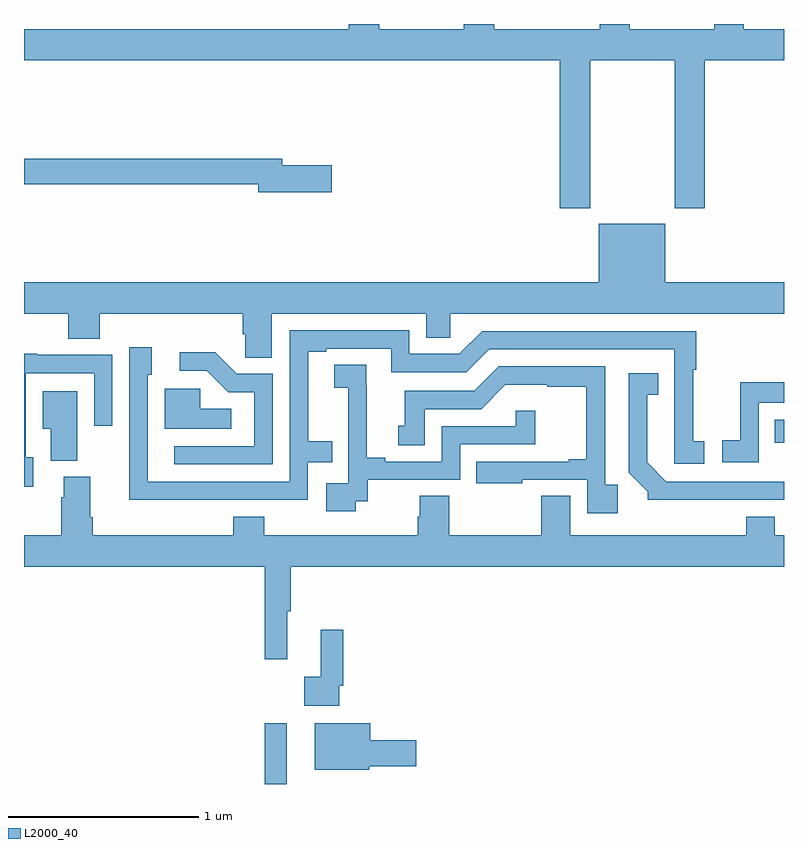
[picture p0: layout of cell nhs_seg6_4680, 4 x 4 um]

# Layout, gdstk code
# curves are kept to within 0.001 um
import gdstk
lib = gdstk.Library(unit=1e-6, precision=1e-09)
def R(c, l, rs):  # rectangles x0, y0, x1, y1
    for r in rs: c.add(gdstk.rectangle(r[:2], r[2:], *l))
def P(c, l, *ps):  # polygons
    for p in ps: c.add(gdstk.Polygon(p, *l))
L2000_40 = (2000, 40)

nhs_seg6_4680 = lib.new_cell('nhs_seg6_4680')
R(nhs_seg6_4680, L2000_40, [(388.267,971.5,388.384,971.821), (390.952,973.295,391,973.417)])
P(nhs_seg6_4680, L2000_40, [(389.979,975.308),(390.424,975.308),(390.424,974.529),(390.584,974.529),(390.584,975.308),(391,975.308),(391,975.472),(390.789,975.472),(390.789,975.5),(390.634,975.5),(390.634,975.472),(390.189,975.472),(390.189,975.5),(390.029,975.5),(390.029,975.472),(389.474,975.472),(389.474,975.5),(389.314,975.5),(389.314,975.472),(388.869,975.472),(388.869,975.5),(388.709,975.5),(388.709,975.472),(387,975.472),(387,975.308),(389.819,975.308),(389.819,974.529),(389.979,974.529)],
  [(388.621,974.756),(388.36,974.756),(388.36,974.792),(387,974.792),(387,974.656),(388.232,974.656),(388.232,974.614),(388.621,974.614)],
  [(388.303,973.976),(389.117,973.976),(389.117,973.849),(389.244,973.849),(389.244,973.976),(391,973.976),(391,974.14),(390.376,974.14),(390.376,974.449),(390.026,974.449),(390.026,974.14),(387,974.14),(387,973.976),(387.233,973.976),(387.233,973.843),(387.398,973.843),(387.398,973.976),(388.151,973.976),(388.151,973.867),(388.164,973.867),(388.164,973.744),(388.303,973.744)],
  [(388.016,972.996),(388.494,972.996),(388.494,973.194),(388.622,973.194),(388.622,973.303),(388.495,973.303),(388.495,973.776),(388.591,973.776),(388.591,973.791),(388.932,973.791),(388.932,973.668),(389.328,973.668),(389.448,973.788),(390.423,973.788),(390.422,973.185),(390.58,973.185),(390.58,973.305),(390.522,973.305),(390.522,973.681),(390.539,973.681),(390.539,973.884),(389.412,973.884),(389.292,973.764),(389.028,973.764),(389.028,973.887),(388.398,973.887),(388.398,973.092),(387.651,973.092),(387.651,973.653),(387.673,973.653),(387.673,973.798),(387.555,973.798),(387.554,972.995)],
  [(388.308,973.659),(388.119,973.659),(388.006,973.772),(387.819,973.772),(387.819,973.674),(387.963,973.674),(388.074,973.563),(388.212,973.563),(388.212,973.278),(387.792,973.278),(387.792,973.182),(388.308,973.182)],
  [(387.049,973.221),(387.009,973.221),(387.009,973.662),(387.369,973.662),(387.369,973.386),(387.465,973.386),(387.465,973.758),(387.069,973.758),(387.069,973.765),(387,973.765),(387,973.065),(387.049,973.065)],
  [(388.746,972.987),(388.808,972.987),(388.808,973.101),(389.295,973.101),(389.295,973.287),(389.69,973.287),(389.69,973.465),(389.589,973.465),(389.589,973.383),(389.199,973.383),(389.199,973.197),(388.9,973.197),(388.9,973.217),(388.804,973.217),(388.804,973.595),(388.802,973.595),(388.802,973.706),(388.632,973.706),(388.632,973.585),(388.706,973.585),(388.706,973.387),(388.707,973.387),(388.707,973.083),(388.59,973.083),(388.59,972.936),(388.746,972.936)],
  [(390.125,973.075),(390.06,973.075),(390.06,973.698),(389.499,973.698),(389.37,973.569),(389.003,973.569),(389.003,973.386),(388.97,973.386),(388.97,973.282),(389.11,973.282),(389.11,973.473),(389.406,973.473),(389.534,973.601),(389.753,973.601),(389.753,973.59),(389.959,973.59),(389.959,973.21),(389.867,973.21),(389.867,973.197),(389.38,973.197),(389.38,973.082),(389.623,973.082),(389.623,973.101),(389.964,973.101),(389.964,972.924),(390.125,972.924)],
  [(390.716,972.996),(391,972.996),(391,973.092),(390.381,973.092),(390.28,973.193),(390.28,973.55),(390.338,973.55),(390.338,973.663),(390.183,973.663),(390.183,973.138),(390.282,973.039),(390.282,972.995)],
  [(390.867,973.506),(391,973.506),(391,973.615),(390.769,973.615),(390.769,973.31),(390.675,973.31),(390.675,973.194),(390.867,973.194)],
  [(388.09,973.474),(387.927,973.474),(387.927,973.581),(387.74,973.581),(387.74,973.37),(388.09,973.37)],
  [(387.28,973.567),(387.098,973.567),(387.098,973.37),(387.14,973.37),(387.14,973.201),(387.28,973.201)],
  [(388.385,972.408),(388.403,972.408),(388.403,972.644),(391,972.644),(391,972.808),(390.952,972.808),(390.952,972.907),(390.8,972.907),(390.8,972.808),(389.875,972.808),(389.875,973.016),(389.723,973.016),(389.723,972.808),(389.237,972.808),(389.237,973.016),(389.084,973.016),(389.084,972.906),(389.072,972.906),(389.072,972.808),(388.265,972.808),(388.265,972.907),(388.1,972.907),(388.1,972.808),(387.362,972.808),(387.362,972.904),(387.349,972.904),(387.349,973.116),(387.209,973.116),(387.209,973.01),(387.197,973.01),(387.197,972.808),(387,972.808),(387,972.644),(388.267,972.644),(388.267,972.156),(388.385,972.156)],
  [(388.659,972.016),(388.679,972.016),(388.679,972.313),(388.562,972.313),(388.562,972.065),(388.476,972.065),(388.476,971.912),(388.659,971.912)],
  [(388.818,971.594),(389.065,971.594),(389.065,971.729),(388.822,971.729),(388.822,971.821),(388.529,971.821),(388.529,971.576),(388.818,971.576)])

lib.write_gds('nhs_seg6_4680.gds')
